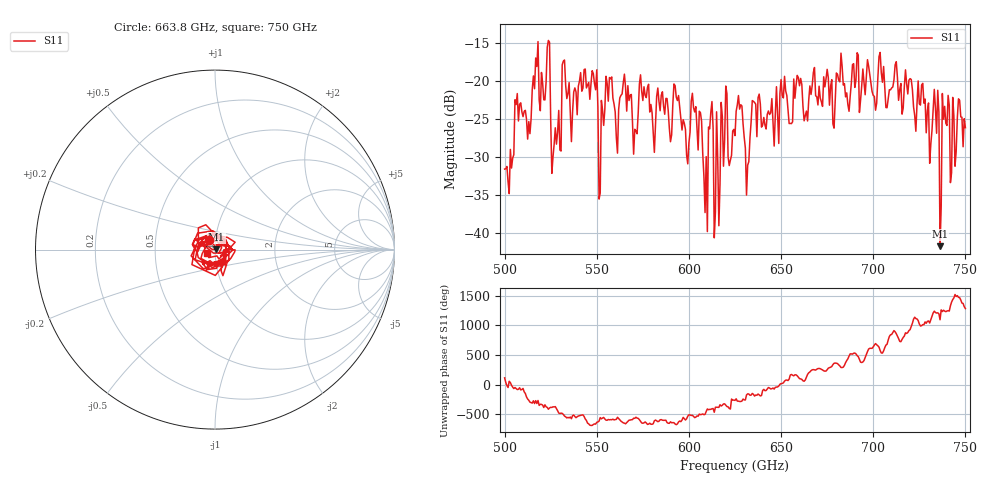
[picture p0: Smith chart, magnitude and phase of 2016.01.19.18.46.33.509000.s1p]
!Created with skrf (http://scikit-rf.org).
# GHz S RI R 50.0
!freq ReS11 ImS11
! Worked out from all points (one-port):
!   401 points, 500 GHz to 750 GHz, reference 50 ohm
!   lowest |S11| = -41.7 dB at 736.2 GHz (marker M1), VSWR 1.02, Z = 50.8 + j0.165 ohm
!   |S11| at or under -10 dB: start of sweep to end of sweep
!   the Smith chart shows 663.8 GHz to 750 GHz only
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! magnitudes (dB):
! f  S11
! 500 GHz  -31.6
! 506.9 GHz  -21.7
! 513.1 GHz  -25.4
! 516.9 GHz  -17.0
! 523.8 GHz  -14.7
! 526.9 GHz  -28.4
! 531.2 GHz  -17.9
! 548.8 GHz  -20.3
! 552.5 GHz  -22.6
! 556.2 GHz  -22.7
! 562.5 GHz  -22.3
! 593.8 GHz  -22.6
! 599.4 GHz  -30.9
! 602.5 GHz  -23.5
! 608.8 GHz  -37.3
! 611.9 GHz  -24.2
! 615 GHz  -24.1
! 618.8 GHz  -31.2
! 625 GHz  -27.2
! 631.9 GHz  -31.1
! 635 GHz  -22.7
! 656.2 GHz  -25.4
! 687.5 GHz  -22.0
! 718.8 GHz  -21.7
! 734.4 GHz  -26.9
! 736.2 GHz  -41.7
! 740 GHz  -25.9
! 750 GHz  -26.2
